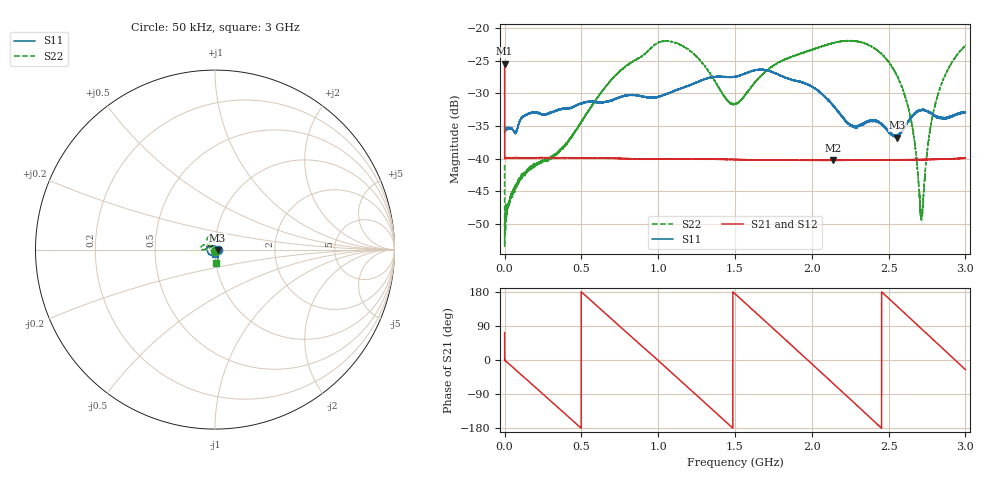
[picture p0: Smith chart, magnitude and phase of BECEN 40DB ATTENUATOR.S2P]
!Keysight Technologies,E5063A,MY54100949,A.07.30
!Date: Mon Dec 22 22:01:05 2025
!Data & Calibration Information:
!Freq	S11:SOLT2(ON)	S21:SOLT2(ON)	S12:SOLT2(ON)	S22:SOLT2(ON)
# Hz S dB R 50
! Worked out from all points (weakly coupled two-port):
!   10001 points, 50 kHz to 3 GHz, reference 50 ohm
!   highest |S21| = -25.46 dB at 50 kHz (marker M1); lowest = -40.3 dB at 2.141 GHz (marker M2)
!   lowest |S11| = -36.8 dB at 2.557 GHz (marker M3), VSWR 1.03, Z = 51.4 - j0.306 ohm
!   |S11| at or under -10 dB: start of sweep to end of sweep
!   |S22| runs from -53.4 to -21.9 dB; largest |S21 - S12| = 0.071
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50000  -35.63 -12.9  -25.46 72.3  -32.48 -59.0  -40.98 -96.9
1.534974e7  -35.63 -0.7  -39.91 -5.6  -39.89 -5.5  -47.99 15.8
1.125481e8  -33.72 6.9  -39.90 -40.6  -39.90 -40.6  -42.53 44.4
3.441443e8  -32.61 -7.1  -39.86 -124.1  -39.87 -124.0  -39.04 91.5
5.001417e8  -31.53 -19.0  -39.90 179.5  -39.90 179.4  -34.39 124.5
7.19738e8  -30.87 -47.5  -39.97 99.8  -39.97 99.8  -27.35 134.8
1.000233e9  -30.55 -88.3  -40.05 -1.5  -40.06 -1.4  -22.24 123.9
1.20723e9  -28.67 -123.9  -40.06 -77.3  -40.08 -77.4  -23.45 101.5
1.500025e9  -27.44 -163.3  -40.16 174.9  -40.15 174.9  -31.60 139.6
1.735821e9  -26.66 172.1  -40.25 87.8  -40.23 87.8  -25.93 176.9
2.000117e9  -28.97 137.7  -40.26 -10.2  -40.27 -10.3  -23.31 -179.0
2.140814e9  -31.95 115.8  -40.30 -62.6  -40.26 -62.6  -22.28 179.4
2.260812e9  -34.97 79.4  -40.26 -107.3  -40.25 -107.4  -21.94 172.6
2.40571e9  -34.29 35.5  -40.24 -161.7  -40.25 -161.7  -23.05 159.2
2.500208e9  -35.88 15.5  -40.21 162.8  -40.21 162.7  -25.19 148.5
2.556607e9  -36.80 -11.9  -40.21 141.6  -40.18 141.6  -27.41 141.2
2.648106e9  -33.72 -46.0  -40.17 107.1  -40.18 107.0  -34.28 124.7
2.714705e9  -32.48 -54.0  -40.16 82.1  -40.17 82.0  -48.73 29.1
2.763904e9  -32.88 -57.8  -40.13 63.7  -40.14 63.7  -36.55 -44.3
2.811903e9  -33.68 -64.6  -40.11 45.6  -40.13 45.6  -31.01 -57.5
2.893802e9  -33.71 -80.2  -40.04 14.7  -40.05 14.6  -26.03 -69.8
3e9  -32.94 -95.1  -39.93 -25.4  -39.93 -25.5  -22.70 -84.3
